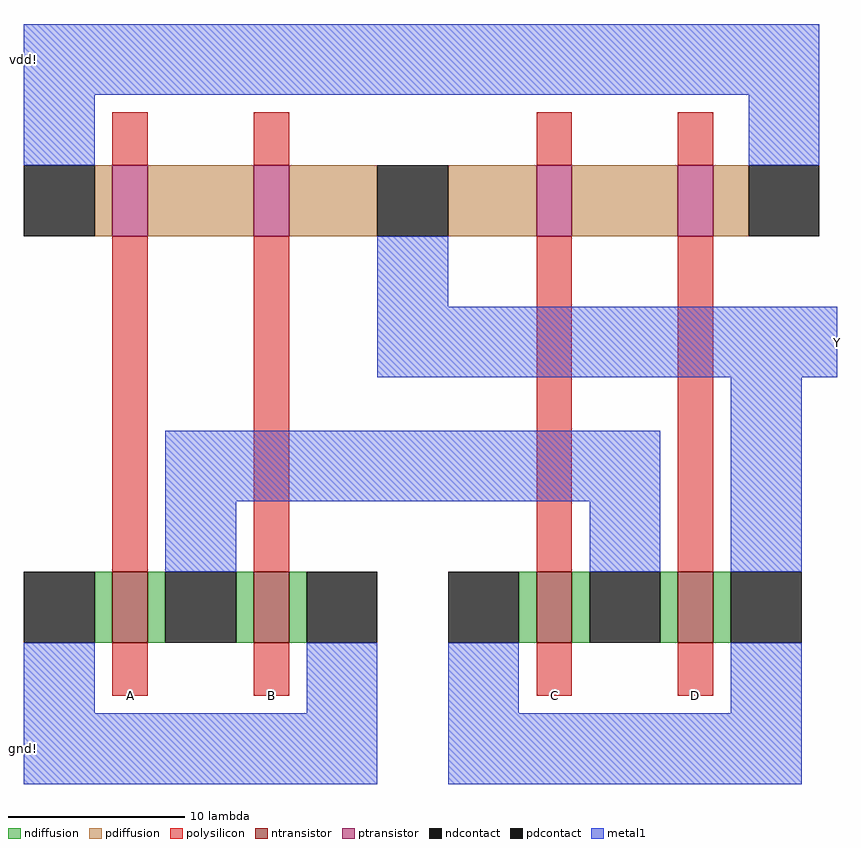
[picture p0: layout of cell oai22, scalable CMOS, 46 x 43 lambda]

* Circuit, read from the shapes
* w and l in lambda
.subckt oai22 A B C D Y gnd! vdd!
M1 n1 A gnd! VSUBS nfet w=4 l=2
M2 gnd! B n1 VSUBS nfet w=4 l=2
M3 n1 C Y VSUBS nfet w=4 l=2
M4 Y D n1 VSUBS nfet w=4 l=2
M5 n2 A vdd! NWELL pfet w=4 l=2
M6 Y B n2 NWELL pfet w=4 l=2
M7 n3 C Y NWELL pfet w=4 l=2
M8 vdd! D n3 NWELL pfet w=4 l=2
.ends

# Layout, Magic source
magic
tech scmos
<< ntransistor >>
rect 5 8 7 12
rect 13 8 15 12
rect 29 8 31 12
rect 37 8 39 12
<< ptransistor >>
rect 5 31 7 35
rect 13 31 15 35
rect 29 31 31 35
rect 37 31 39 35
<< ndiffusion >>
rect 4 8 5 12
rect 7 8 8 12
rect 12 8 13 12
rect 15 8 16 12
rect 28 8 29 12
rect 31 8 32 12
rect 36 8 37 12
rect 39 8 40 12
<< pdiffusion >>
rect 4 31 5 35
rect 7 31 13 35
rect 15 31 20 35
rect 24 31 29 35
rect 31 31 37 35
rect 39 31 41 35
<< ndcontact >>
rect 0 8 4 12
rect 8 8 12 12
rect 16 8 20 12
rect 24 8 28 12
rect 32 8 36 12
rect 40 8 44 12
<< pdcontact >>
rect 0 31 4 35
rect 20 31 24 35
rect 41 31 45 35
<< polysilicon >>
rect 5 35 7 38
rect 13 35 15 38
rect 29 35 31 38
rect 37 35 39 38
rect 5 12 7 31
rect 13 12 15 31
rect 29 12 31 31
rect 37 12 39 31
rect 5 5 7 8
rect 13 5 15 8
rect 29 5 31 8
rect 37 5 39 8
<< metal1 >>
rect 0 39 45 43
rect 0 35 4 39
rect 41 35 45 39
rect 20 27 24 31
rect 20 23 46 27
rect 8 16 36 20
rect 8 12 12 16
rect 32 12 36 16
rect 0 4 4 8
rect 16 4 20 8
rect 0 0 20 4
rect 40 12 44 23
rect 24 4 28 8
rect 40 4 44 8
rect 24 0 44 4
<< labels >>
rlabel metal1 0 39 0 43 4 vdd!
rlabel metal1 46 23 46 27 7 Y
rlabel metal1 0 0 0 4 2 gnd!
rlabel polysilicon 5 5 7 5 1 A
rlabel polysilicon 13 5 15 5 1 B
rlabel polysilicon 29 5 31 5 1 C
rlabel polysilicon 37 5 39 5 1 D
<< end >>
